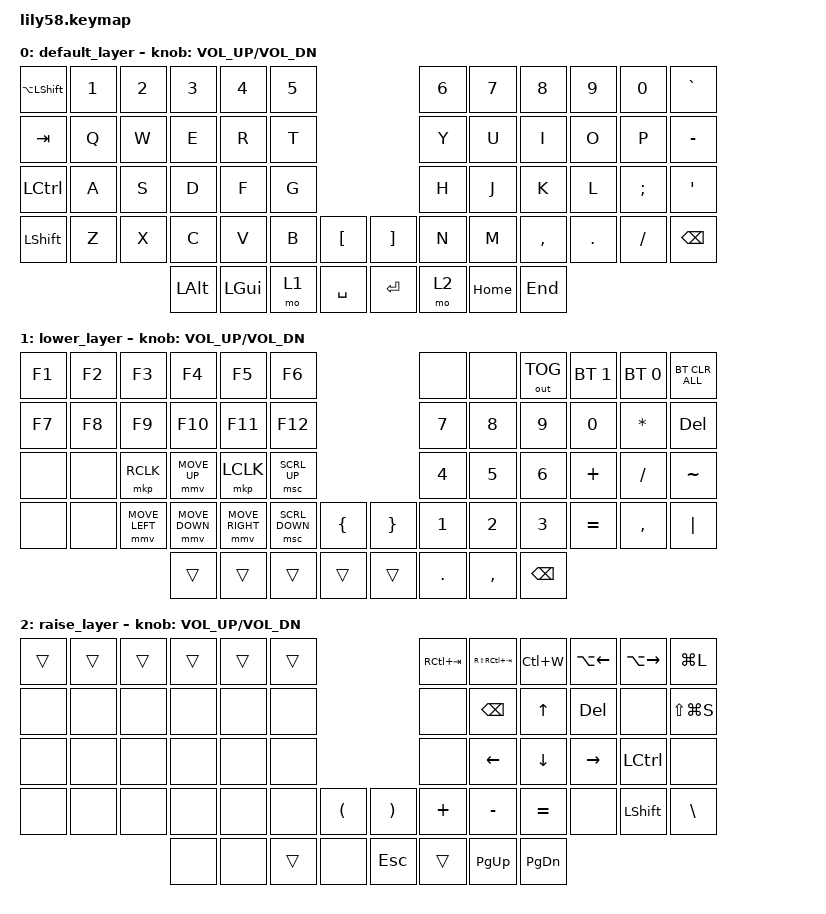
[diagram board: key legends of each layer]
/*
 * Copyright (c) 2020 The ZMK Contributors
 *
 * SPDX-License-Identifier: MIT
 */

#include <dt-bindings/zmk/mouse.h>

#define ZMK_POINTING_DEFAULT_MOVE_VAL 1500  // default: 600
#define ZMK_POINTING_DEFAULT_SCRL_VAL 20    // default: 10

#include <behaviors.dtsi>
#include <dt-bindings/zmk/bt.h>
#include <dt-bindings/zmk/keys.h>
#include <dt-bindings/zmk/outputs.h>
#include <dt-bindings/zmk/pointing.h>

/ {
    keymap {
        compatible = "zmk,keymap";

        default_layer {
            // ------------------------------------------------------------------------------------------------------------
            // |  ESC  |  1  |  2  |  3   |  4   |  5   |                   |  6   |  7    |  8    |  9   |   0   |   `   |
            // |  TAB  |  Q  |  W  |  E   |  R   |  T   |                   |  Y   |  U    |  I    |  O   |   P   |   -   |
            // |  CTRL |  A  |  S  |  D   |  F   |  G   |                   |  H   |  J    |  K    |  L   |   ;   |   '   |
            // | SHIFT |  Z  |  X  |  C   |  V   |  B   |   "["  |  |  "]"  |  N   |  M    |  ,    |  .   |   /   | SHIFT |
            //                     | ALT  | GUI  | LOWER|  SPACE |  | ENTER | RAISE| BSPC  | GUI   |

            bindings = <
&kp LA(LEFT_SHIFT)  &kp N1  &kp N2  &kp N3    &kp N4    &kp N5                         &kp N6  &kp N7    &kp N8     &kp N9   &kp N0    &kp GRAVE
&kp TAB             &kp Q   &kp W   &kp E     &kp R     &kp T                          &kp Y   &kp U     &kp I      &kp O    &kp P     &kp MINUS
&kp LCTRL           &kp A   &kp S   &kp D     &kp F     &kp G                          &kp H   &kp J     &kp K      &kp L    &kp SEMI  &kp SQT
&kp LEFT_SHIFT      &kp Z   &kp X   &kp C     &kp V     &kp B   &kp LBKT     &kp RBKT  &kp N   &kp M     &kp COMMA  &kp DOT  &kp FSLH  &kp BACKSPACE
                                    &kp LALT  &kp LGUI  &mo 1   &kp SPACE    &kp RET   &mo 2   &kp HOME  &kp END
            >;

            sensor-bindings = <&inc_dec_kp C_VOL_UP C_VOL_DN>;
        };

        lower_layer {
            // ------------------------------------------------------------------------------------------------------------
            // | BTCLR | BT1 | BT2 |  BT3 |  BT4 |  BT5 |                   |      |       |       |      |       |       |
            // |  F1   |  F2 |  F3 |  F4  |  F5  |  F6  |                   |  F7  |  F8   |  F9   |  F10 |  F11  |  F12  |
            // |   `   |  !  |  @  |  #   |  $   |  %   |                   |  ^   |  &    |  *    |  (   |   )   |   ~   |
            // |       |     |     |      |      |      |        |  |       |      |  _    |  +    |  {   |   }   |  "|"  |
            //                     |      |      |      |        |  |       |      |       |       |

            bindings = <
&kp F1  &kp F2  &kp F3          &kp F4          &kp F5           &kp F6                                             &none         &none         &out OUT_TOG   &bt BT_SEL 1  &bt BT_SEL 0  &bt BT_CLR_ALL
&kp F7  &kp F8  &kp F9          &kp F10         &kp F11          &kp F12                                            &kp N7        &kp N8        &kp N9         &kp N0        &kp ASTERISK  &kp DELETE
&none   &none   &mkp RCLK       &mmv MOVE_UP    &mkp LCLK        &msc SCRL_UP                                       &kp NUMBER_4  &kp N5        &kp NUMBER_6   &kp PLUS      &kp SLASH     &kp TILDE
&none   &none   &mmv MOVE_LEFT  &mmv MOVE_DOWN  &mmv MOVE_RIGHT  &msc SCRL_DOWN  &kp LEFT_BRACE    &kp RIGHT_BRACE  &kp NUMBER_1  &kp NUMBER_2  &kp NUMBER_3   &kp EQUAL     &kp COMMA     &kp PIPE
                                &trans          &trans           &trans          &trans            &trans           &kp DOT       &kp COMMA     &kp BACKSPACE
            >;

            sensor-bindings = <&inc_dec_kp C_VOL_UP C_VOL_DN>;
        };

        raise_layer {
            // ------------------------------------------------------------------------------------------------------------
            // |       |     |     |      |      |      |                   |      |       |       |      |       |       |
            // |   `   |  1  |  2  |  3   |  4   |  5   |                   |  6   |   7   |   8   |  9   |   0   |       |
            // |   F1  |  F2 |  F3 |  F4  |  F5  |  F6  |                   |      |   <-  |   v   |  ^   |  ->   |       |
            // |   F7  |  F8 |  F9 |  F10 |  F11 |  F12 |        |  |       |  +   |   -   |   =   |  [   |   ]   |   \   |
            //                     |      |      |      |        |  |       |      |       |       |

            bindings = <
&trans  &trans  &trans  &trans  &trans  &trans                                                 &kp RC(TAB)  &kp RS(RC(TAB))  &kp LC(W)     &kp LA(LEFT_ARROW)  &kp LA(RIGHT)   &kp LG(L)
&none   &none   &none   &none   &none   &none                                                  &none        &kp BACKSPACE    &kp UP_ARROW  &kp DELETE          &none           &kp LS(LG(S))
&none   &none   &none   &none   &none   &none                                                  &none        &kp LEFT         &kp DOWN      &kp RIGHT_ARROW     &kp LCTRL       &none
&none   &none   &none   &none   &none   &none   &kp LEFT_PARENTHESIS    &kp RIGHT_PARENTHESIS  &kp PLUS     &kp MINUS        &kp EQUAL     &none               &kp LEFT_SHIFT  &kp BSLH
                        &none   &none   &trans  &none                   &kp ESCAPE             &trans       &kp PG_UP        &kp PG_DN
            >;

            sensor-bindings = <&inc_dec_kp C_VOL_UP C_VOL_DN>;
        };
    };
};
